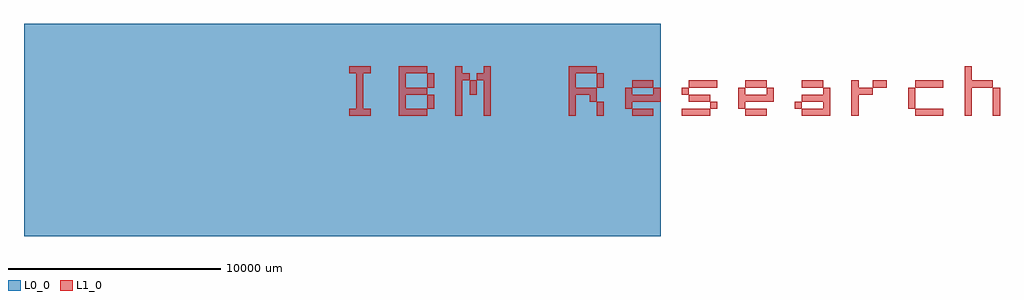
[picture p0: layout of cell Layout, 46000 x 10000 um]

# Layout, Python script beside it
import gdspy

# Define the GDS library and cell
lib = gdspy.GdsLibrary()
cell = lib.new_cell('Layout')

# Create the rectangle
rect = gdspy.Rectangle((0, 0), (30e3, 10e3), layer=0)

# Add the rectangle to the cell
cell.add(rect)

# Create the text
text = gdspy.Text('IBM Research', size=3e3, position=(15e3, 5e3), layer=1)

# Add the text to the cell
cell.add(text)

# Save the design to a GDS file
lib.write_gds('layout.gds')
